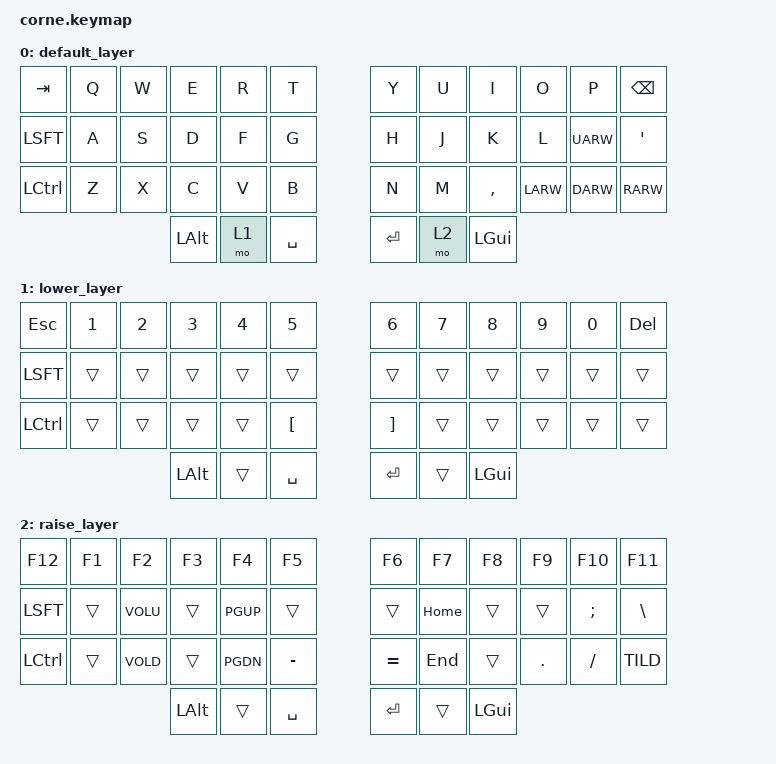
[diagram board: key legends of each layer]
#include <behaviors.dtsi>
#include <dt-bindings/zmk/keys.h>

/ {
        keymap {
                compatible = "zmk,keymap";

                default_layer {
// -----------------------------------------------------------------------------------------
// |  TAB |  Q  |  W  |  E  |  R  |  T  |   |  Y  |  U   |  I  |  O  |  P  | BKSP |
// | SHFT |  A  |  S  |  D  |  F  |  G  |   |  H  |  J   |  K  |  L  |  UP |  '   |
// | CTRL |  Z  |  X  |  C  |  V  |  B  |   |  N  |  M   |  ,  | LFT | DWN |  RGT |
//                    | ALT | LWR | SPC |   | ENT | RSE  | GUI |
                        bindings = <
   &kp TAB  &kp Q &kp W &kp E &kp R &kp T   &kp Y &kp U  &kp I    &kp O   &kp P    &kp BKSP
   &kp LSFT &kp A &kp S &kp D &kp F &kp G   &kp H &kp J  &kp K    &kp L   &kp UARW &kp QUOT
   &kp LCTL &kp Z &kp X &kp C &kp V &kp B   &kp N &kp M  &kp CMMA &kp LARW &kp DARW &kp RARW
                   &kp LALT &mo 1 &kp SPC   &kp RET &mo 2 &kp LGUI
                        >;
                };
                lower_layer {
// -----------------------------------------------------------------------------------------
// |  ESC |  1  |  2  |  3  |  4  |  5  |   |  6  |  7  |  8  |  9  |  0  |  DEL |
// | SHFT |     |     |     |     |     |   |     |     |     |     |     |      |
// | CTRL |     |     |     |     |  [  |   |  ]  |     |     |     |     |      |
//                    | ALT |     | SPC |   | ENT |     | GUI |
                        bindings = <
   &kp ESC  &kp NUM_1 &kp NUM_2 &kp NUM_3 &kp NUM_4 &kp NUM_5   &kp NUM_6 &kp NUM_7 &kp NUM_8 &kp NUM_9 &kp NUM_0 &kp DEL
   &kp LSFT &trans    &trans    &trans    &trans    &trans      &trans    &trans    &trans    &trans    &trans     &trans
   &kp LCTL &trans    &trans    &trans    &trans    &kp LBKT    &kp RBKT    &trans    &trans    &trans    &trans     &trans
                                      &kp LALT &trans &kp SPC   &kp RET &trans &kp LGUI
                        >;
                };

                raise_layer {
// -----------------------------------------------------------------------------------------
// |  F12 |  F1 |  F2 |  F3 |  F4 |  F5 |   |  F6 |  F7 |  F8 |  F9 | F10 |  F11 |
// | SHFT |     |     | VOLU| PGUP|     |   |     | HOME|     |     |  ;  |  \   |
// | CTRL |     |     | VOLD| PGDN|  -  |   |  =  | END |     |  .  |  /  |  ~   | // TODO: Fix this row when &mkp is committed
//                    | GUI |     | SPC |   | ENT |     | ALT |
                        bindings = <
   &kp  F12 &kp F1    &kp F2    &kp F3    &kp F4    &kp F5      &kp F6    &kp F7   &kp F8   &kp F9   &kp F10  &kp F11
   &kp LSFT &trans    &kp VOLU  &trans    &kp PGUP  &trans      &trans    &kp HOME &trans   &trans   &kp SCLN &kp BSLH
   &kp LCTL &trans    &kp VOLD  &trans    &kp PGDN  &kp MINUS   &kp EQL   &kp END  &trans   &kp DOT  &kp FSLH &kp TILD
                                      &kp LALT &trans &kp SPC   &kp RET &trans &kp LGUI
                        >;
                };
        };
};

